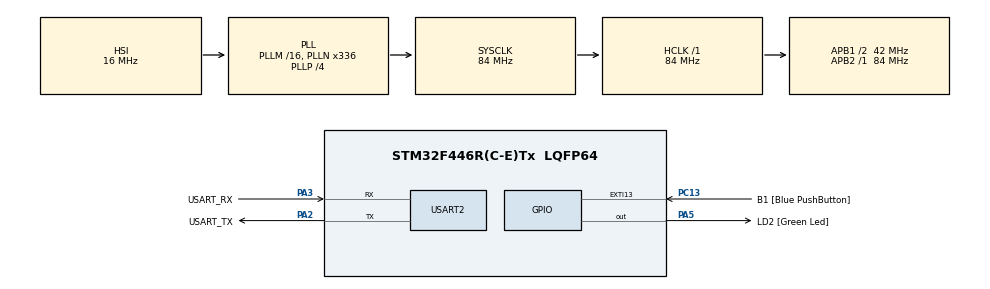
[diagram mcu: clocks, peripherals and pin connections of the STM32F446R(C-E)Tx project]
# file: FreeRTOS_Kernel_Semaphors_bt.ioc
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Mcu.Family=STM32F4
Mcu.Name=STM32F446R(C-E)Tx
Mcu.Package=LQFP64
NVIC.EXTI15_10_IRQn=true\:0\:0\:false\:false\:true\:true\:true\:true
NVIC.PriorityGroup=NVIC_PRIORITYGROUP_4
NVIC.TIM6_DAC_IRQn=true\:0\:0\:false\:false\:true\:false\:true\:true
NVIC.TimeBase=TIM6_DAC_IRQn
NVIC.TimeBaseIP=TIM6
PA13.GPIO_Label=TMS
PA13.Mode=Serial_Wire
PA13.Signal=SYS_JTMS-SWDIO
PA14.GPIO_Label=TCK
PA14.Mode=Serial_Wire
PA14.Signal=SYS_JTCK-SWCLK
PA2.GPIO_Label=USART_TX
PA2.Mode=Asynchronous
PA2.Signal=USART2_TX
PA3.GPIO_Label=USART_RX
PA3.Mode=Asynchronous
PA3.Signal=USART2_RX
PA5.GPIO_Label=LD2 [Green Led]
PA5.Signal=GPIO_Output
PB3.GPIO_Label=SWO
PB3.Signal=SYS_JTDO-SWO
PC13.GPIO_Label=B1 [Blue PushButton]
PC13.GPIO_ModeDefaultEXTI=GPIO_MODE_IT_FALLING
PC13.GPIO_PuPd=GPIO_PULLUP
PC13.Signal=GPXTI13
PC14-OSC32_IN.Mode=LSE-External-Oscillator
PC14-OSC32_IN.Signal=RCC_OSC32_IN
PC15-OSC32_OUT.Mode=LSE-External-Oscillator
PC15-OSC32_OUT.Signal=RCC_OSC32_OUT
PH0-OSC_IN.Mode=HSE-External-Oscillator
PH0-OSC_IN.Signal=RCC_OSC_IN
PH1-OSC_OUT.Mode=HSE-External-Oscillator
PH1-OSC_OUT.Signal=RCC_OSC_OUT
ProjectManager.HeapSize=0x200
ProjectManager.StackSize=0x400
ProjectManager.TargetToolchain=STM32CubeIDE
RCC.48MHZClocksFreq_Value=84000000
RCC.AHBFreq_Value=84000000
RCC.APB1CLKDivider=RCC_HCLK_DIV2
RCC.APB1Freq_Value=42000000
RCC.APB1TimFreq_Value=84000000
RCC.APB2Freq_Value=84000000
RCC.APB2TimFreq_Value=84000000
RCC.CortexFreq_Value=84000000
RCC.FLatency-AdvancedSettings=FLASH_LATENCY_2
RCC.HCLKFreq_Value=84000000
RCC.HSE_VALUE=8000000
RCC.HSI_VALUE=16000000
RCC.PLLN=336
RCC.PLLP=RCC_PLLP_DIV4
RCC.SYSCLKFreq_VALUE=84000000
RCC.SYSCLKSource=RCC_SYSCLKSOURCE_PLLCLK
RCC.USBFreq_Value=168000000
RCC.VCOOutputFreq_Value=336000000
USART2.VirtualMode=VM_ASYNC
VP_SYS_VS_tim6.Mode=TIM6
board=NUCLEO-F446RE

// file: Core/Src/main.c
/* USER CODE BEGIN Header */
/**
  ******************************************************************************
  * @file           : main.c
  * @brief          : Main program body
  ******************************************************************************
  * @attention
  *
  * Copyright (c) 2025 STMicroelectronics.
  * All rights reserved.
  *
  * This software is licensed under terms that can be found in the LICENSE file
  * in the root directory of this software component.
  * If no LICENSE file comes with this software, it is provided AS-IS.
  *
  ******************************************************************************
  */
/* USER CODE END Header */
#include "main.h"

/* USER CODE BEGIN Includes */
#include "FreeRTOS.h"
#include "task.h"
#include "semphr.h"
#include <string.h>

/* USER CODE END Includes */

UART_HandleTypeDef huart2;

/* USER CODE BEGIN PV */
SemaphoreHandle_t binarySemaphore;

/* USER CODE END PV */

void SystemClock_Config(void);
static void MX_GPIO_Init(void);
static void MX_USART2_UART_Init(void);
/* USER CODE BEGIN PFP */

void LED_Task(void *pvParameters);

/* USER CODE END PFP */

int main(void)
{

  /* MCU Configuration--------------------------------------------------------*/

  /* Reset of all peripherals, Initializes the Flash interface and the Systick. */
  HAL_Init();

  /* Configure the system clock */
  SystemClock_Config();

  /* Initialize all configured peripherals */
  MX_GPIO_Init();
  MX_USART2_UART_Init();
  /* USER CODE BEGIN 2 */
  // Create Binary Semaphore
     binarySemaphore = xSemaphoreCreateBinary();
     configASSERT(binarySemaphore != NULL);

     // Create LED Task
     xTaskCreate(LED_Task, "LED_Task", 500, NULL, 2, NULL);

     // Start Scheduler
     vTaskStartScheduler();
  /* USER CODE END 2 */

  /* Infinite loop */
  while (1)
  {

  }
}

void SystemClock_Config(void)
{
  RCC_OscInitTypeDef RCC_OscInitStruct = {0};
  RCC_ClkInitTypeDef RCC_ClkInitStruct = {0};

  /** Configure the main internal regulator output voltage
  */
  __HAL_RCC_PWR_CLK_ENABLE();
  __HAL_PWR_VOLTAGESCALING_CONFIG(PWR_REGULATOR_VOLTAGE_SCALE3);

  /** Initializes the RCC Oscillators according to the specified parameters
  * in the RCC_OscInitTypeDef structure.
  */
  RCC_OscInitStruct.OscillatorType = RCC_OSCILLATORTYPE_HSI;
  RCC_OscInitStruct.HSIState = RCC_HSI_ON;
  RCC_OscInitStruct.HSICalibrationValue = RCC_HSICALIBRATION_DEFAULT;
  RCC_OscInitStruct.PLL.PLLState = RCC_PLL_ON;
  RCC_OscInitStruct.PLL.PLLSource = RCC_PLLSOURCE_HSI;
  RCC_OscInitStruct.PLL.PLLM = 16;
  RCC_OscInitStruct.PLL.PLLN = 336;
  RCC_OscInitStruct.PLL.PLLP = RCC_PLLP_DIV4;
  RCC_OscInitStruct.PLL.PLLQ = 2;
  RCC_OscInitStruct.PLL.PLLR = 2;
  if (HAL_RCC_OscConfig(&RCC_OscInitStruct) != HAL_OK)
  {
    Error_Handler();
  }

  /** Initializes the CPU, AHB and APB buses clocks
  */
  RCC_ClkInitStruct.ClockType = RCC_CLOCKTYPE_HCLK|RCC_CLOCKTYPE_SYSCLK
                              |RCC_CLOCKTYPE_PCLK1|RCC_CLOCKTYPE_PCLK2;
  RCC_ClkInitStruct.SYSCLKSource = RCC_SYSCLKSOURCE_PLLCLK;
  RCC_ClkInitStruct.AHBCLKDivider = RCC_SYSCLK_DIV1;
  RCC_ClkInitStruct.APB1CLKDivider = RCC_HCLK_DIV2;
  RCC_ClkInitStruct.APB2CLKDivider = RCC_HCLK_DIV1;

  if (HAL_RCC_ClockConfig(&RCC_ClkInitStruct, FLASH_LATENCY_2) != HAL_OK)
  {
    Error_Handler();
  }
}

static void MX_USART2_UART_Init(void)
{

  huart2.Instance = USART2;
  huart2.Init.BaudRate = 115200;
  huart2.Init.WordLength = UART_WORDLENGTH_8B;
  huart2.Init.StopBits = UART_STOPBITS_1;
  huart2.Init.Parity = UART_PARITY_NONE;
  huart2.Init.Mode = UART_MODE_TX_RX;
  huart2.Init.HwFlowCtl = UART_HWCONTROL_NONE;
  huart2.Init.OverSampling = UART_OVERSAMPLING_16;
  if (HAL_UART_Init(&huart2) != HAL_OK)
  {
    Error_Handler();
  }

}

static void MX_GPIO_Init(void)
{
  GPIO_InitTypeDef GPIO_InitStruct = {0};

  /* GPIO Ports Clock Enable */
  __HAL_RCC_GPIOC_CLK_ENABLE();
  __HAL_RCC_GPIOH_CLK_ENABLE();
  __HAL_RCC_GPIOA_CLK_ENABLE();
  __HAL_RCC_GPIOB_CLK_ENABLE();

  /*Configure GPIO pin Output Level */
  HAL_GPIO_WritePin(LD2_GPIO_Port, LD2_Pin, GPIO_PIN_RESET);

  /*Configure GPIO pin : B1_Pin */
  GPIO_InitStruct.Pin = B1_Pin;
  GPIO_InitStruct.Mode = GPIO_MODE_IT_FALLING;
  GPIO_InitStruct.Pull = GPIO_PULLUP;
  HAL_GPIO_Init(B1_GPIO_Port, &GPIO_InitStruct);

  /*Configure GPIO pin : LD2_Pin */
  GPIO_InitStruct.Pin = LD2_Pin;
  GPIO_InitStruct.Mode = GPIO_MODE_OUTPUT_PP;
  GPIO_InitStruct.Pull = GPIO_NOPULL;
  GPIO_InitStruct.Speed = GPIO_SPEED_FREQ_LOW;
  HAL_GPIO_Init(LD2_GPIO_Port, &GPIO_InitStruct);

  /* EXTI interrupt init*/
  HAL_NVIC_SetPriority(EXTI15_10_IRQn, 5, 0);
  HAL_NVIC_EnableIRQ(EXTI15_10_IRQn);

}

/* USER CODE BEGIN 4 */
/* LED Task - Wait for Button ISR to give Semaphore */

void HAL_GPIO_EXTI_Callback(uint16_t GPIO_Pin)
{
    if (GPIO_Pin == B1_Pin)
    {
        BaseType_t xHigherPriorityTaskWoken = pdFALSE;
        xSemaphoreGiveFromISR(binarySemaphore, &xHigherPriorityTaskWoken);
        portYIELD_FROM_ISR(xHigherPriorityTaskWoken);
    }
}

void LED_Task(void *pvParameters)
{
    char msg[] = "Button Press Detected!\r\n";

    for (;;)
    {
        // Wait until semaphore is given by ISR
        if (xSemaphoreTake(binarySemaphore, portMAX_DELAY) == pdTRUE)
        {
            HAL_UART_Transmit(&huart2, (uint8_t *)msg, strlen(msg), HAL_MAX_DELAY);
            HAL_GPIO_TogglePin(LD2_GPIO_Port, LD2_Pin); // Toggle LED
        }
    }
}
/* USER CODE END 4 */

void HAL_TIM_PeriodElapsedCallback(TIM_HandleTypeDef *htim)
{
  if (htim->Instance == TIM6) {
    HAL_IncTick();
  }
}

void Error_Handler(void)
{
  __disable_irq();
  while (1)
  {
  }
}
